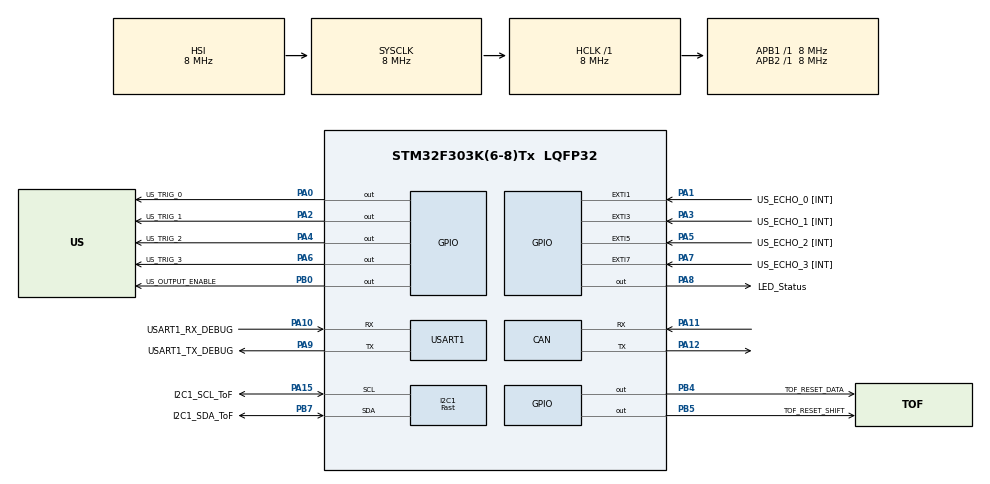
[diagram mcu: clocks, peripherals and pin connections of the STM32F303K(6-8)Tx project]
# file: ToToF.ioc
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CAN.BS1=CAN_BS1_1TQ
CAN.BS2=CAN_BS2_1TQ
CAN.CalculateTimeQuantum=2000.0
I2C1.I2C_Speed_Mode=I2C_Fast
I2C1.Timing=0x0000020B
Mcu.Family=STM32F3
Mcu.Name=STM32F303K(6-8)Tx
Mcu.Package=LQFP32
NVIC.PriorityGroup=NVIC_PRIORITYGROUP_4
NVIC.TIM3_IRQn=true\:0\:0\:false\:false\:true\:true
PA0.GPIO_Label=US_TRIG_0
PA0.Signal=GPIO_Output
PA1.GPIO_Label=US_ECHO_0 [INT]
PA1.Signal=GPXTI1
PA10.GPIO_Label=USART1_RX_DEBUG
PA10.Mode=Asynchronous
PA10.Signal=USART1_RX
PA11.Mode=Master
PA11.Signal=CAN_RX
PA12.Mode=Master
PA12.Signal=CAN_TX
PA13.Mode=Serial_Wire
PA13.Signal=SYS_JTMS-SWDIO
PA14.Mode=Serial_Wire
PA14.Signal=SYS_JTCK-SWCLK
PA15.GPIO_Label=I2C1_SCL_ToF
PA15.Mode=I2C
PA15.Signal=I2C1_SCL
PA2.GPIO_Label=US_TRIG_1
PA2.Signal=GPIO_Output
PA3.GPIO_Label=US_ECHO_1 [INT]
PA3.Signal=GPXTI3
PA4.GPIO_Label=US_TRIG_2
PA4.Signal=GPIO_Output
PA5.GPIO_Label=US_ECHO_2 [INT]
PA5.Signal=GPXTI5
PA6.GPIO_Label=US_TRIG_3
PA6.Signal=GPIO_Output
PA7.GPIO_Label=US_ECHO_3 [INT]
PA7.Signal=GPXTI7
PA8.GPIO_Label=LED_Status
PA8.Signal=GPIO_Output
PA9.GPIO_Label=USART1_TX_DEBUG
PA9.Mode=Asynchronous
PA9.Signal=USART1_TX
PB0.GPIO_Label=US_OUTPUT_ENABLE
PB0.Signal=GPIO_Output
PB4.GPIO_Label=TOF_RESET_DATA
PB4.Signal=GPIO_Output
PB5.GPIO_Label=TOF_RESET_SHIFT
PB5.Signal=GPIO_Output
PB7.GPIO_Label=I2C1_SDA_ToF
PB7.Mode=I2C
PB7.Signal=I2C1_SDA
PF0\ /\ OSC_IN.Mode=HSE-External-Oscillator
PF0\ /\ OSC_IN.Signal=RCC_OSC_IN
PF1\ /\ OSC_OUT.Mode=HSE-External-Oscillator
PF1\ /\ OSC_OUT.Signal=RCC_OSC_OUT
ProjectManager.HeapSize=0x200
ProjectManager.StackSize=0x400
ProjectManager.TargetToolchain=Makefile
RCC.AHBFreq_Value=8000000
RCC.APB1Freq_Value=8000000
RCC.APB1TimFreq_Value=8000000
RCC.APB2Freq_Value=8000000
RCC.APB2TimFreq_Value=8000000
RCC.CortexFreq_Value=8000000
RCC.HCLKFreq_Value=8000000
RCC.HSE_VALUE=8000000
RCC.HSI_VALUE=8000000
RCC.SYSCLKFreq_VALUE=8000000
TIM2.Period=0
TIM2.Prescaler=0
TIM3.Period=1000
TIM3.Prescaler=8000
USART1.VirtualMode-Asynchronous=VM_ASYNC
VP_TIM1_VS_ClockSourceINT.Mode=Internal
VP_TIM2_VS_ClockSourceINT.Mode=Internal
VP_TIM3_VS_ClockSourceINT.Mode=Internal
board=custom

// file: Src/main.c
/**
  ******************************************************************************
  * @file           : main.c
  * @brief          : Main program body
  ******************************************************************************
  ** This notice applies to any and all portions of this file
  * that are not between comment pairs USER CODE BEGIN and
  * USER CODE END. Other portions of this file, whether
  * inserted by the user or by software development tools
  * are owned by their respective copyright owners.
  *
  * COPYRIGHT(c) 2019 STMicroelectronics
  *
  * Redistribution and use in source and binary forms, with or without modification,
  * are permitted provided that the following conditions are met:
  *   1. Redistributions of source code must retain the above copyright notice,
  *      this list of conditions and the following disclaimer.
  *   2. Redistributions in binary form must reproduce the above copyright notice,
  *      this list of conditions and the following disclaimer in the documentation
  *      and/or other materials provided with the distribution.
  *   3. Neither the name of STMicroelectronics nor the names of its contributors
  *      may be used to endorse or promote products derived from this software
  *      without specific prior written permission.
  *
  * THIS SOFTWARE IS PROVIDED BY THE COPYRIGHT HOLDERS AND CONTRIBUTORS "AS IS"
  * AND ANY EXPRESS OR IMPLIED WARRANTIES, INCLUDING, BUT NOT LIMITED TO, THE
  * IMPLIED WARRANTIES OF MERCHANTABILITY AND FITNESS FOR A PARTICULAR PURPOSE ARE
  * DISCLAIMED. IN NO EVENT SHALL THE COPYRIGHT HOLDER OR CONTRIBUTORS BE LIABLE
  * FOR ANY DIRECT, INDIRECT, INCIDENTAL, SPECIAL, EXEMPLARY, OR CONSEQUENTIAL
  * DAMAGES (INCLUDING, BUT NOT LIMITED TO, PROCUREMENT OF SUBSTITUTE GOODS OR
  * SERVICES; LOSS OF USE, DATA, OR PROFITS; OR BUSINESS INTERRUPTION) HOWEVER
  * CAUSED AND ON ANY THEORY OF LIABILITY, WHETHER IN CONTRACT, STRICT LIABILITY,
  * OR TORT (INCLUDING NEGLIGENCE OR OTHERWISE) ARISING IN ANY WAY OUT OF THE USE
  * OF THIS SOFTWARE, EVEN IF ADVISED OF THE POSSIBILITY OF SUCH DAMAGE.
  *
  ******************************************************************************
  */
#include "main.h"
#include "stm32f3xx_hal.h"
#include "can.h"
#include "i2c.h"
#include "tim.h"
#include "usart.h"
#include "gpio.h"

/* USER CODE BEGIN Includes */
#include "tof.h"

/* USER CODE END Includes */

/* USER CODE BEGIN PV */
/* Private variables ---------------------------------------------------------*/

/* USER CODE END PV */

void SystemClock_Config(void);

/* USER CODE BEGIN PFP */
/* Private function prototypes -----------------------------------------------*/

/* USER CODE END PFP */

/* USER CODE BEGIN 0 */

#define NB_TOF 1
ToF_Handler tof[NB_TOF];

static int Init_ToF(ToF_Handler *htof, uint8_t i2c_addr);
int threshold = 100;

/* USER CODE END 0 */

int main(void)
{

  /* MCU Configuration----------------------------------------------------------*/

  /* Reset of all peripherals, Initializes the Flash interface and the Systick. */
  HAL_Init();

  /* Configure the system clock */
  SystemClock_Config();

  /* Initialize all configured peripherals */
  MX_GPIO_Init();
  MX_CAN_Init();
  MX_I2C1_Init();
  MX_TIM1_Init();
  MX_TIM2_Init();
  MX_USART1_UART_Init();
  MX_TIM3_Init();
  /* USER CODE BEGIN 2 */
  HAL_TIM_Base_Start_IT(&htim3);

  //==================================================//
  //            ToF Initialisation                    //
  //==================================================//
  //Wait for the devices to reset
  HAL_Delay(TOF_DELAY);

  //Init the time of flight sensors
  int r = Init_ToF(&tof[0], 0x54);

  if(r != -1) {
      HAL_GPIO_TogglePin(LED_Status_GPIO_Port, LED_Status_Pin);
  }
  /* USER CODE END 2 */

  /* Infinite loop */
  while (1)
  {

  }

}

void SystemClock_Config(void)
{

  RCC_OscInitTypeDef RCC_OscInitStruct;
  RCC_ClkInitTypeDef RCC_ClkInitStruct;
  RCC_PeriphCLKInitTypeDef PeriphClkInit;

    /**Initializes the CPU, AHB and APB busses clocks
    */
  RCC_OscInitStruct.OscillatorType = RCC_OSCILLATORTYPE_HSI;
  RCC_OscInitStruct.HSIState = RCC_HSI_ON;
  RCC_OscInitStruct.HSICalibrationValue = 16;
  RCC_OscInitStruct.PLL.PLLState = RCC_PLL_NONE;
  if (HAL_RCC_OscConfig(&RCC_OscInitStruct) != HAL_OK)
  {
    _Error_Handler(__FILE__, __LINE__);
  }

    /**Initializes the CPU, AHB and APB busses clocks
    */
  RCC_ClkInitStruct.ClockType = RCC_CLOCKTYPE_HCLK|RCC_CLOCKTYPE_SYSCLK
                              |RCC_CLOCKTYPE_PCLK1|RCC_CLOCKTYPE_PCLK2;
  RCC_ClkInitStruct.SYSCLKSource = RCC_SYSCLKSOURCE_HSI;
  RCC_ClkInitStruct.AHBCLKDivider = RCC_SYSCLK_DIV1;
  RCC_ClkInitStruct.APB1CLKDivider = RCC_HCLK_DIV1;
  RCC_ClkInitStruct.APB2CLKDivider = RCC_HCLK_DIV1;

  if (HAL_RCC_ClockConfig(&RCC_ClkInitStruct, FLASH_LATENCY_0) != HAL_OK)
  {
    _Error_Handler(__FILE__, __LINE__);
  }

  PeriphClkInit.PeriphClockSelection = RCC_PERIPHCLK_USART1|RCC_PERIPHCLK_I2C1
                              |RCC_PERIPHCLK_TIM1;
  PeriphClkInit.Usart1ClockSelection = RCC_USART1CLKSOURCE_PCLK1;
  PeriphClkInit.I2c1ClockSelection = RCC_I2C1CLKSOURCE_HSI;
  PeriphClkInit.Tim1ClockSelection = RCC_TIM1CLK_HCLK;
  if (HAL_RCCEx_PeriphCLKConfig(&PeriphClkInit) != HAL_OK)
  {
    _Error_Handler(__FILE__, __LINE__);
  }

    /**Configure the Systick interrupt time
    */
  HAL_SYSTICK_Config(HAL_RCC_GetHCLKFreq()/1000);

    /**Configure the Systick
    */
  HAL_SYSTICK_CLKSourceConfig(SYSTICK_CLKSOURCE_HCLK);

  /* SysTick_IRQn interrupt configuration */
  HAL_NVIC_SetPriority(SysTick_IRQn, 0, 0);
}

/* USER CODE BEGIN 4 */
static int Init_ToF(ToF_Handler *htof, uint8_t i2c_addr){
  HAL_GPIO_WritePin(TOF_RESET_DATA_GPIO_Port, TOF_RESET_DATA_Pin, GPIO_PIN_SET);

  HAL_GPIO_WritePin(TOF_RESET_SHIFT_GPIO_Port, TOF_RESET_SHIFT_Pin, GPIO_PIN_RESET);
  HAL_Delay(1);
  HAL_GPIO_WritePin(TOF_RESET_SHIFT_GPIO_Port, TOF_RESET_SHIFT_Pin, GPIO_PIN_SET);
  HAL_Delay(1);
  HAL_GPIO_WritePin(TOF_RESET_SHIFT_GPIO_Port, TOF_RESET_SHIFT_Pin, GPIO_PIN_RESET);

  //Wait for the chip to star
  HAL_Delay(TOF_DELAY);

  //Init structure
  ToF_Init_Struct(htof, &hi2c1);

  ToF_Params params;

  //Check the initial address
  if(ToF_Poke(&htof->dev) == -1)
    return -1;

  //Set the new address
  if(ToF_Set_Address(&htof->dev, i2c_addr) == -1)
    return -1;

  //Init the device
  if(ToF_Init_Device(&htof->dev) == -1)
    return -1;

  //Long range config
  TOF_LONG_RANGE_CONFIG(params);

  //Configure the device
  if(ToF_Configure_Device(&htof->dev, &params, VL53L0X_DEVICEMODE_CONTINUOUS_RANGING)== -1)
    return -1;

  //Start the device
  if(VL53L0X_StartMeasurement(&htof->dev) == -1)
    return -1;

  return 0;
}

void HAL_TIM_PeriodElapsedCallback(TIM_HandleTypeDef* htim) {
    if (htim->Instance == htim3.Instance) {
        int init = ToF_Poll_Measurement_Data(&tof[0]);
        int d = ToF_Get_Last_Range(&tof[0]);

        //Clignotement de la LED en dessous du seuil
        if (d < threshold && d != 0) {
            HAL_GPIO_TogglePin(LED_Status_GPIO_Port, LED_Status_Pin);
        }
    }
}
/* USER CODE END 4 */

void _Error_Handler(char *file, int line)
{
  while(1)
  {
  }
}

/************************ (C) COPYRIGHT STMicroelectronics *****END OF FILE****/
